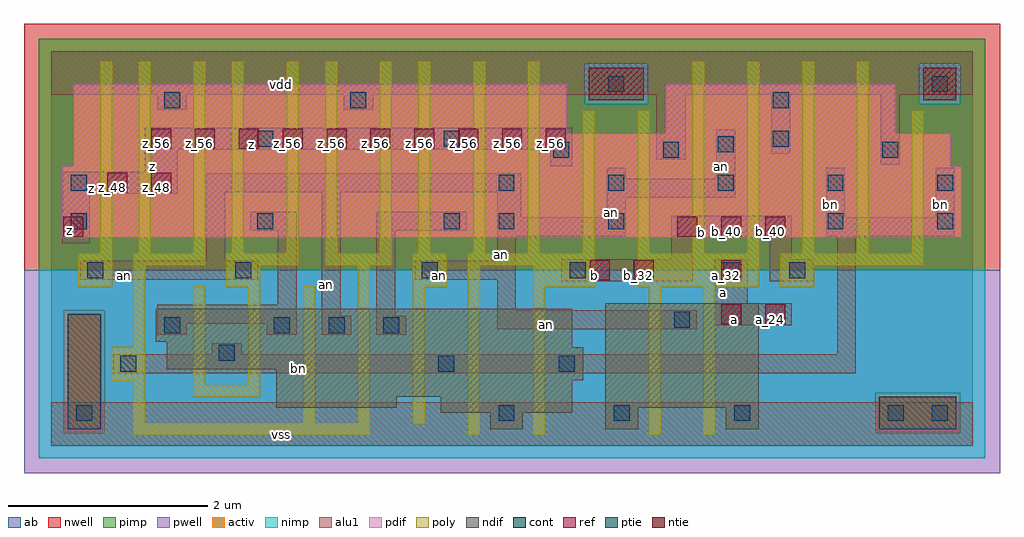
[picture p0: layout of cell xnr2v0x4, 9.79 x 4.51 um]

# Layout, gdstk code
import gdstk
lib = gdstk.Library(unit=1e-6, precision=2.5e-09)
def R(c, l, rs):  # rectangles x0, y0, x1, y1
    for r in rs: c.add(gdstk.rectangle(r[:2], r[2:], *l))
def A(c, l, x, y, w, h, nx, ny, dx, dy):  # array of equal rectangles
    R(c, l, [(x+i*dx, y+j*dy, x+i*dx+w, y+j*dy+h) for i in range(nx) for j in range(ny)])
ndif = (3, 0)
pdif = (4, 0)
ntie = (5, 0)
ptie = (6, 0)
ref = (24, 0)
cont = (25, 0)
pwell = (41, 0)
nwell = (42, 0)
activ = (43, 0)
pimp = (44, 0)
nimp = (45, 0)
poly = (46, 0)
alu1 = (49, 0)
ab = (63, 0)

xnr2v0x4 = lib.new_cell('xnr2v0x4')
R(xnr2v0x4, ndif, [(4.4,0.165,4.73,0.33), (5.555,0.165,5.885,0.385), (6.765,0.165,7.095,0.385), (3.905,0.33,5.225,0.495), (2.255,0.385,3.465,0.495), (5.555,0.385,7.095,1.43), (2.255,0.495,5.225,0.66), (2.255,0.66,5.335,0.77), (1.155,0.77,5.335,0.99), (1.155,0.99,5.225,1.045), (1.045,1.045,5.225,1.375)])
R(xnr2v0x4, pdif, [(0.11,2.09,9.13,2.805), (0.22,2.805,9.02,3.135), (0.22,3.135,5.17,3.63), (6.16,3.135,8.47,3.63)])
R(xnr2v0x4, ntie, [(5.39,3.465,5.94,3.795), (8.745,3.465,9.075,3.795)])
R(xnr2v0x4, ptie, [(0.165,0.165,0.495,1.32), (8.305,0.165,9.075,0.495)])
A(xnr2v0x4, ref, 6.28, 2.1, 0.2, 0.2, 3, 1, 0.44, 0)
A(xnr2v0x4, ref, 1, 2.98, 0.2, 0.2, 10, 1, 0.44, 0)
R(xnr2v0x4, ref, [(6.72,1.22,6.92,1.42), (7.16,1.22,7.36,1.42), (5.4,1.66,5.6,1.86), (5.84,1.66,6.04,1.86), (6.72,1.66,6.92,1.86), (0.12,2.1,0.32,2.3), (0.56,2.54,0.76,2.74), (1,2.54,1.2,2.74)])
A(xnr2v0x4, cont, 2.23, 1.13, 0.16, 0.16, 3, 1, 0.55, 0)
A(xnr2v0x4, cont, 0.195, 2.175, 0.16, 0.16, 3, 1, 1.87, 0)
A(xnr2v0x4, cont, 4.485, 2.56, 0.16, 0.16, 5, 1, 1.1, 0)
R(xnr2v0x4, cont, [(0.25,0.25,0.41,0.41), (4.485,0.25,4.645,0.41), (5.64,0.25,5.8,0.41), (6.85,0.25,7.01,0.41), (8.39,0.25,8.55,0.41), (8.83,0.25,8.99,0.41), (0.69,0.745,0.85,0.905), (3.88,0.745,4.04,0.905), (5.09,0.745,5.25,0.905), (1.68,0.855,1.84,1.015), (1.13,1.13,1.29,1.29), (6.245,1.185,6.405,1.345), (0.36,1.68,0.52,1.84), (1.845,1.68,2.005,1.84), (3.715,1.68,3.875,1.84), (5.2,1.68,5.36,1.84), (6.74,1.68,6.9,1.84), (7.4,1.68,7.56,1.84), (4.485,2.175,4.645,2.335), (5.585,2.175,5.745,2.335), (7.785,2.175,7.945,2.335), (8.885,2.175,9.045,2.335), (0.195,2.56,0.355,2.72), (5.035,2.89,5.195,3.05), (6.135,2.89,6.295,3.05), (8.335,2.89,8.495,3.05), (6.685,2.945,6.845,3.105), (2.065,3,2.225,3.16), (3.935,3,4.095,3.16), (7.235,3,7.395,3.16), (1.13,3.385,1.29,3.545), (3,3.385,3.16,3.545), (7.235,3.385,7.395,3.545), (5.585,3.55,5.745,3.71), (8.83,3.55,8.99,3.71)])
R(xnr2v0x4, pwell, [(-0.275,-0.275,9.515,1.76)])
R(xnr2v0x4, nwell, [(-0.275,1.76,9.515,4.235)])
R(xnr2v0x4, activ, [(0.165,0.165,0.495,1.32), (4.4,0.165,4.73,0.33), (5.555,0.165,5.885,0.385), (6.765,0.165,7.095,0.385), (8.305,0.165,9.075,0.495), (3.905,0.33,5.225,0.495), (2.255,0.385,3.465,0.495), (5.555,0.385,7.095,1.43), (2.255,0.495,5.225,0.66), (2.255,0.66,5.335,0.77), (1.155,0.77,5.335,0.99), (1.155,0.99,5.225,1.045), (1.045,1.045,5.225,1.375), (0.11,2.09,9.13,2.805), (0.22,2.805,9.02,3.135), (0.22,3.135,5.17,3.63), (6.16,3.135,8.47,3.63), (5.39,3.465,5.94,3.795), (8.745,3.465,9.075,3.795)])
R(xnr2v0x4, pimp, [(0.125,0.125,0.535,1.36), (8.265,0.125,9.115,0.535), (-0.125,1.76,9.365,3.425), (-0.125,3.425,5.35,3.835), (5.98,3.425,8.705,3.835), (9.115,3.425,9.365,3.835), (-0.125,3.835,9.365,4.085)])
R(xnr2v0x4, nimp, [(-0.125,-0.125,9.365,0.125), (-0.125,0.125,0.125,1.36), (0.535,0.125,8.265,0.535), (9.115,0.125,9.365,0.535), (0.535,0.535,9.365,1.36), (-0.125,1.36,9.365,1.76), (5.35,3.425,5.98,3.835), (8.705,3.425,9.115,3.835)])
A(xnr2v0x4, poly, 3.68, 1.93, 0.12, 1.925, 3, 1, 0.55, 0)
A(xnr2v0x4, poly, 6.43, 1.93, 0.12, 1.925, 4, 1, 0.55, 0)
R(xnr2v0x4, poly, [(0.82,0.105,3.195,0.225), (4.175,0.105,4.295,1.81), (4.835,0.105,4.955,1.59), (5.99,0.105,6.11,1.59), (6.54,0.105,6.66,1.59), (3.625,0.215,3.745,1.59), (0.82,0.225,0.94,0.655), (2.525,0.225,2.645,1.6), (3.075,0.225,3.195,1.81), (1.425,0.49,2.095,0.61), (1.425,0.61,1.545,1.6), (1.975,0.61,2.095,1.59), (0.6,0.655,0.94,0.995), (0.82,0.995,0.94,1.81), (0.27,1.59,0.61,1.93), (1.755,1.59,2.095,1.81), (3.625,1.59,3.965,1.93), (4.835,1.59,5.45,1.81), (5.88,1.59,7.1,1.93), (7.31,1.59,7.65,1.81), (0.82,1.81,1.545,1.93), (1.755,1.81,2.48,1.93), (2.745,1.81,3.415,1.93), (4.175,1.81,5.45,1.93), (7.31,1.81,8.75,1.93), (0.49,1.93,0.61,3.855), (0.875,1.93,0.995,3.855), (1.425,1.93,1.545,3.855), (1.81,1.93,1.93,3.855), (2.36,1.93,2.48,3.855), (2.745,1.93,2.865,3.855), (3.295,1.93,3.415,3.855), (5.33,1.93,5.45,3.36), (5.88,1.93,6,3.36), (8.63,1.93,8.75,3.36)])
R(xnr2v0x4, alu1, [(0,0,9.24,0.44), (0.62,0.73,8.07,0.92), (1.61,0.92,1.91,1.03), (7.88,0.92,8.07,2.105), (1.06,1.115,1.36,1.225), (2.16,1.115,2.46,1.225), (2.71,1.115,3.01,1.305), (3.26,1.115,3.56,1.305), (4.47,1.17,6.475,1.36), (6.655,1.21,7.425,1.43), (1.06,1.225,2.46,1.415), (2.71,1.305,2.9,2.545), (3.26,1.305,3.45,2.16), (4.47,1.36,4.66,1.665), (2.27,1.415,2.46,2.16), (6.655,1.43,6.985,1.87), (5.115,1.65,6.435,1.87), (7.205,1.65,7.645,1.87), (0.29,1.665,2.075,1.855), (3.645,1.665,4.66,1.855), (1.555,1.855,1.745,2.545), (4.47,1.855,4.66,2.105), (6.215,1.87,6.435,2.09), (7.205,1.87,7.425,2.09), (0.11,2.035,0.385,2.53), (6.215,2.09,7.425,2.31), (4.47,2.105,5.76,2.295), (7.77,2.105,9.06,2.295), (1.995,2.16,2.46,2.35), (3.26,2.16,4.165,2.35), (4.47,2.295,4.715,2.545), (5.57,2.295,5.76,2.49), (7.77,2.295,7.96,2.79), (8.87,2.295,9.06,2.79), (5.57,2.49,6.86,2.68), (0.11,2.53,1.265,2.75), (1.555,2.545,4.715,2.735), (5.57,2.68,5.76,2.79), (6.67,2.68,6.86,3.175), (0.935,2.75,1.265,2.97), (5.005,2.805,5.225,2.97), (8.32,2.82,8.51,3.52), (6.065,2.875,6.365,3.52), (7.22,2.93,7.41,3.52), (0.935,2.97,5.225,3.19), (1.06,3.37,1.36,3.52), (2.93,3.37,3.23,3.52), (0,3.52,9.24,3.96)])
R(xnr2v0x4, ab, [(0,0,9.24,3.96)])
xnr2v0x4.add(gdstk.Label('vss', (2.31,0.11), layer=49, texttype=0))
xnr2v0x4.add(gdstk.Label('bn', (2.4825,0.7775), layer=49, texttype=0))
xnr2v0x4.add(gdstk.Label('a', (6.8475,1.265), layer=49, texttype=0))
xnr2v0x4.add(gdstk.Label('an', (4.97,1.2175), layer=49, texttype=0))
xnr2v0x4.add(gdstk.Label('a', (6.7375,1.54), layer=49, texttype=0))
xnr2v0x4.add(gdstk.Label('b', (5.445,1.705), layer=49, texttype=0))
xnr2v0x4.add(gdstk.Label('an', (3.8975,1.7125), layer=49, texttype=0))
xnr2v0x4.add(gdstk.Label('bn', (8.9175,2.4175), layer=49, texttype=0))
xnr2v0x4.add(gdstk.Label('bn', (7.8175,2.4175), layer=49, texttype=0))
xnr2v0x4.add(gdstk.Label('b', (6.5175,2.145), layer=49, texttype=0))
xnr2v0x4.add(gdstk.Label('an', (4.5175,1.9175), layer=49, texttype=0))
xnr2v0x4.add(gdstk.Label('an', (5.6175,2.3425), layer=49, texttype=0))
xnr2v0x4.add(gdstk.Label('an', (6.7175,2.8025), layer=49, texttype=0))
xnr2v0x4.add(gdstk.Label('an', (2.7575,1.615), layer=49, texttype=0))
xnr2v0x4.add(gdstk.Label('an', (0.735,1.7125), layer=49, texttype=0))
xnr2v0x4.add(gdstk.Label('z', (0.1775,2.1575), layer=49, texttype=0))
xnr2v0x4.add(gdstk.Label('z', (0.3975,2.585), layer=49, texttype=0))
xnr2v0x4.add(gdstk.Label('z', (1.0175,2.805), layer=49, texttype=0))
xnr2v0x4.add(gdstk.Label('z', (2.0075,3.025), layer=49, texttype=0))
xnr2v0x4.add(gdstk.Label('vdd', (2.31,3.63), layer=49, texttype=0))
xnr2v0x4.add(gdstk.Label('z_56', (5.01,3.03), layer=24, texttype=0))
xnr2v0x4.add(gdstk.Label('b_40', (7.21,2.15), layer=24, texttype=0))
xnr2v0x4.add(gdstk.Label('b_40', (6.77,2.15), layer=24, texttype=0))
xnr2v0x4.add(gdstk.Label('b_40', (6.33,2.15), layer=24, texttype=0))
xnr2v0x4.add(gdstk.Label('a_32', (6.77,1.71), layer=24, texttype=0))
xnr2v0x4.add(gdstk.Label('a_24', (6.77,1.27), layer=24, texttype=0))
xnr2v0x4.add(gdstk.Label('a_24', (7.21,1.27), layer=24, texttype=0))
xnr2v0x4.add(gdstk.Label('z_56', (1.05,3.03), layer=24, texttype=0))
xnr2v0x4.add(gdstk.Label('z_56', (1.49,3.03), layer=24, texttype=0))
xnr2v0x4.add(gdstk.Label('z_48', (1.05,2.59), layer=24, texttype=0))
xnr2v0x4.add(gdstk.Label('z_40', (0.17,2.15), layer=24, texttype=0))
xnr2v0x4.add(gdstk.Label('z_56', (4.13,3.03), layer=24, texttype=0))
xnr2v0x4.add(gdstk.Label('z_56', (3.69,3.03), layer=24, texttype=0))
xnr2v0x4.add(gdstk.Label('z_56', (3.25,3.03), layer=24, texttype=0))
xnr2v0x4.add(gdstk.Label('z_56', (2.81,3.03), layer=24, texttype=0))
xnr2v0x4.add(gdstk.Label('z_56', (2.37,3.03), layer=24, texttype=0))
xnr2v0x4.add(gdstk.Label('z_56', (4.57,3.03), layer=24, texttype=0))
xnr2v0x4.add(gdstk.Label('z_56', (1.93,3.03), layer=24, texttype=0))
xnr2v0x4.add(gdstk.Label('z_48', (0.61,2.59), layer=24, texttype=0))
xnr2v0x4.add(gdstk.Label('b_32', (5.89,1.71), layer=24, texttype=0))
xnr2v0x4.add(gdstk.Label('b_32', (5.45,1.71), layer=24, texttype=0))

lib.write_gds('xnr2v0x4.gds')
